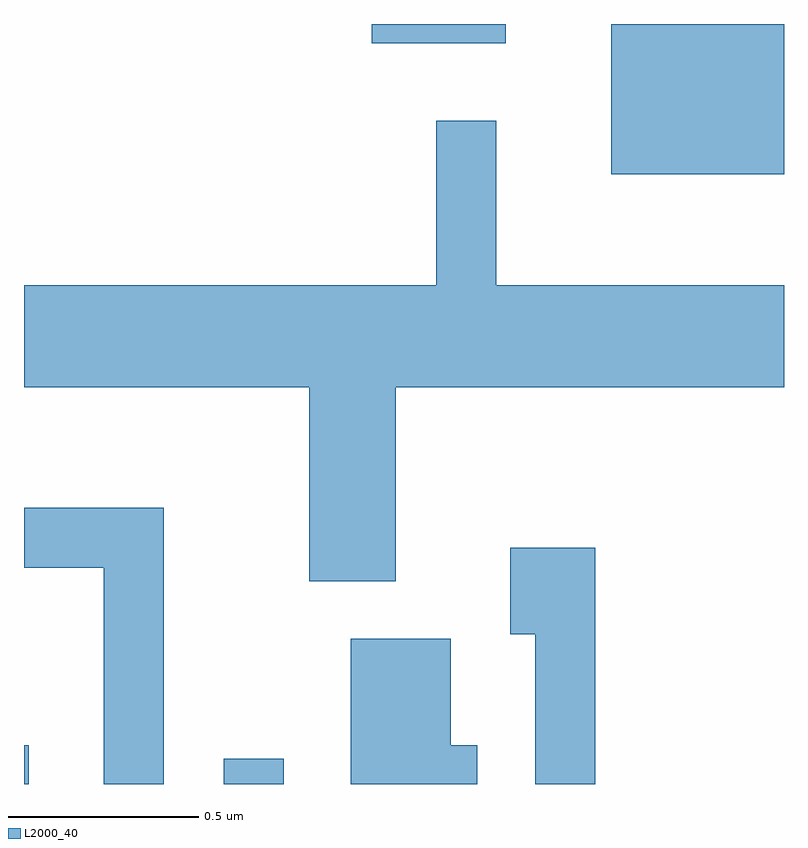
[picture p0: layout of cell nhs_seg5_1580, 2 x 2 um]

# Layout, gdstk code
import gdstk
lib = gdstk.Library(unit=1e-6, precision=1e-09)
def R(c, l, rs):  # rectangles x0, y0, x1, y1
    for r in rs: c.add(gdstk.rectangle(r[:2], r[2:], *l))
def P(c, l, *ps):  # polygons
    for p in ps: c.add(gdstk.Polygon(p, *l))
L2000_40 = (2000, 40)

nhs_seg5_1580 = lib.new_cell('nhs_seg5_1580')
R(nhs_seg5_1580, L2000_40, [(196.611,1469.072,196.624,1469.174), (197.136,1469.072,197.294,1469.138), (198.156,1470.676,198.611,1471.072), (197.526,1471.021,197.879,1471.072)])
P(nhs_seg5_1580, L2000_40, [(197.589,1470.116),(198.611,1470.116),(198.611,1470.384),(197.854,1470.384),(197.854,1470.818),(197.696,1470.818),(197.696,1470.384),(196.611,1470.384),(196.611,1470.116),(197.361,1470.116),(197.361,1469.606),(197.589,1469.606)],
  [(196.979,1469.799),(196.611,1469.799),(196.611,1469.641),(196.821,1469.641),(196.821,1469.072),(196.979,1469.072)],
  [(198.114,1469.694),(197.891,1469.694),(197.891,1469.466),(197.956,1469.466),(197.956,1469.072),(198.114,1469.072)],
  [(197.804,1469.174),(197.734,1469.174),(197.734,1469.454),(197.471,1469.454),(197.471,1469.072),(197.804,1469.072)])

lib.write_gds('nhs_seg5_1580.gds')
